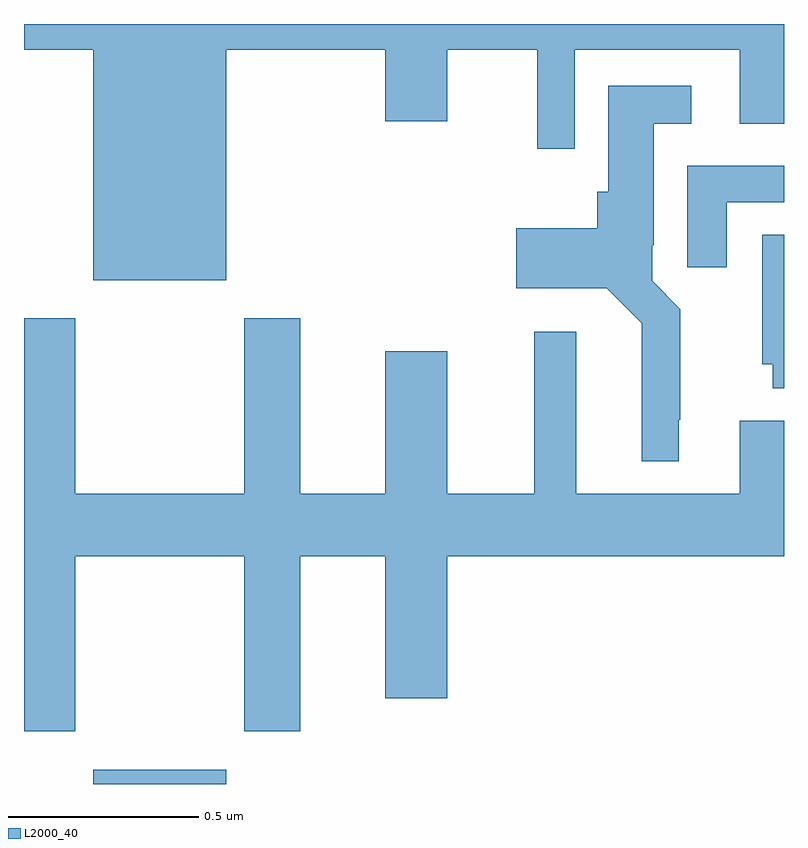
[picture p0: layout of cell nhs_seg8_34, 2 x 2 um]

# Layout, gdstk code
import gdstk
lib = gdstk.Library(unit=1e-6, precision=1e-09)
def R(c, l, rs):  # rectangles x0, y0, x1, y1
    for r in rs: c.add(gdstk.rectangle(r[:2], r[2:], *l))
def P(c, l, *ps):  # polygons
    for p in ps: c.add(gdstk.Polygon(p, *l))
L2000_40 = (2000, 40)

nhs_seg8_34 = lib.new_cell('nhs_seg8_34')
R(nhs_seg8_34, L2000_40, [(111.182,1115.9,111.532,1115.938)])
P(nhs_seg8_34, L2000_40, [(111.532,1117.832),(111.95,1117.832),(111.95,1117.644),(112.114,1117.644),(112.114,1117.832),(112.351,1117.832),(112.351,1117.572),(112.449,1117.572),(112.449,1117.832),(112.883,1117.832),(112.883,1117.638),(113,1117.638),(113,1117.9),(111,1117.9),(111,1117.832),(111.182,1117.832),(111.182,1117.226),(111.532,1117.226)],
  [(112.723,1116.859),(112.727,1116.859),(112.727,1117.15),(112.653,1117.224),(112.653,1117.318),(112.657,1117.318),(112.657,1117.637),(112.756,1117.637),(112.756,1117.738),(112.538,1117.738),(112.538,1117.458),(112.508,1117.458),(112.508,1117.363),(112.296,1117.363),(112.296,1117.205),(112.533,1117.205),(112.626,1117.112),(112.626,1117.01),(112.625,1117.01),(112.625,1116.749),(112.723,1116.749)],
  [(112.849,1117.431),(113,1117.431),(113,1117.527),(112.745,1117.527),(112.745,1117.26),(112.849,1117.26)],
  [(113,1117.346),(112.943,1117.346),(112.943,1117.005),(112.97,1117.005),(112.97,1116.941),(113,1116.941)],
  [(111.135,1116.5),(111.58,1116.5),(111.58,1116.039),(111.727,1116.039),(111.727,1116.5),(111.95,1116.5),(111.95,1116.126),(112.114,1116.126),(112.114,1116.5),(113,1116.5),(113,1116.856),(112.883,1116.856),(112.883,1116.664),(112.453,1116.664),(112.453,1117.09),(112.343,1117.09),(112.343,1116.664),(112.114,1116.664),(112.114,1117.039),(111.95,1117.039),(111.95,1116.664),(111.727,1116.664),(111.727,1117.126),(111.58,1117.126),(111.58,1116.664),(111.135,1116.664),(111.135,1117.126),(111,1117.126),(111,1116.039),(111.135,1116.039)])

lib.write_gds('nhs_seg8_34.gds')
